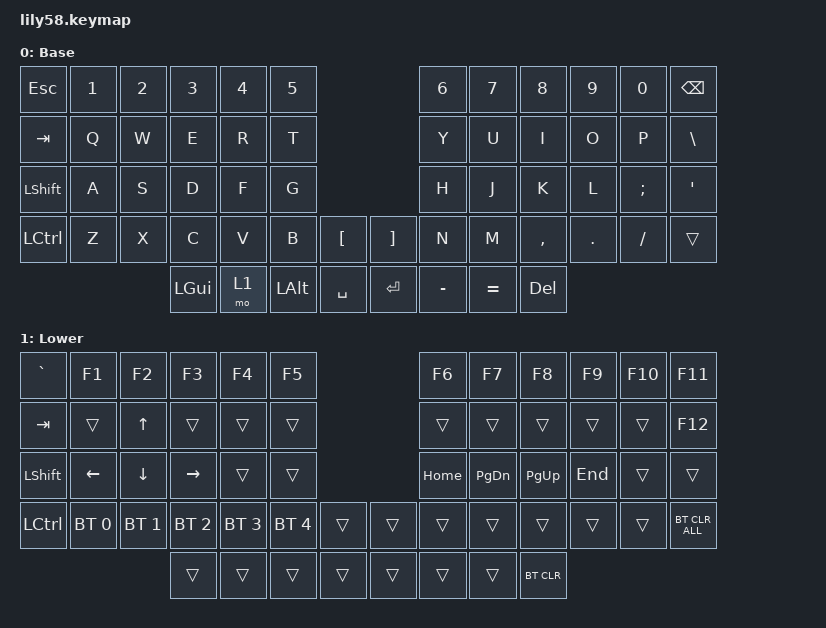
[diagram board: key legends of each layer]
/*
 * Copyright (c) 2020 The ZMK Contributors
 *
 * SPDX-License-Identifier: MIT
 */

#include <behaviors.dtsi>
#include <dt-bindings/zmk/bt.h>
#include <dt-bindings/zmk/keys.h>

/ {
    keymap {
        compatible = "zmk,keymap";

        default_layer {
            // ------------------------------------------------------------------------------------------------------------
            // |  ESC  |  1  |  2  |  3   |  4   |  5   |                   |  6   |  7    |  8    |  9   |   0   |   `   |
            // |  TAB  |  Q  |  W  |  E   |  R   |  T   |                   |  Y   |  U    |  I    |  O   |   P   |   -   |
            // |  CTRL |  A  |  S  |  D   |  F   |  G   |                   |  H   |  J    |  K    |  L   |   ;   |   '   |
            // | SHIFT |  Z  |  X  |  C   |  V   |  B   |   "["  |  |  "]"  |  N   |  M    |  ,    |  .   |   /   | SHIFT |
            //                     | ALT  | GUI  | LOWER|  SPACE |  | ENTER | RAISE| BSPC  | GUI   |

            display-name = "Base";
            bindings = <
&kp ESC           &kp N1  &kp N2  &kp N3        &kp N4  &kp N5                               &kp N6     &kp N7     &kp N8      &kp N9   &kp N0    &kp BACKSPACE
&kp TAB           &kp Q   &kp W   &kp E         &kp R   &kp T                                &kp Y      &kp U      &kp I       &kp O    &kp P     &kp BACKSLASH
&kp LEFT_SHIFT    &kp A   &kp S   &kp D         &kp F   &kp G                                &kp H      &kp J      &kp K       &kp L    &kp SEMI  &kp SQT
&kp LEFT_CONTROL  &kp Z   &kp X   &kp C         &kp V   &kp B         &kp LBKT     &kp RBKT  &kp N      &kp M      &kp COMMA   &kp DOT  &kp FSLH  &trans
                                  &kp LEFT_GUI  &mo 1   &kp LEFT_ALT  &kp SPACE    &kp RET   &kp MINUS  &kp EQUAL  &kp DELETE
            >;
        };

        lower_layer {
            // ------------------------------------------------------------------------------------------------------------
            // | BTCLR | BT1 | BT2 |  BT3 |  BT4 |  BT5 |                   |      |       |       |      |       |       |
            // |  F1   |  F2 |  F3 |  F4  |  F5  |  F6  |                   |  F7  |  F8   |  F9   |  F10 |  F11  |  F12  |
            // |   `   |  !  |  @  |  #   |  $   |  %   |                   |  ^   |  &    |  *    |  (   |   )   |   ~   |
            // |       |     |     |      |      |      |        |  |       |      |  _    |  +    |  {   |   }   |  "|"  |
            //                     |      |      |      |        |  |       |      |       |       |

            display-name = "Lower";
            bindings = <
&kp GRAVE         &kp F1          &kp F2          &kp F3           &kp F4        &kp F5                          &kp F6    &kp F7         &kp F8       &kp F9   &kp F10  &kp F11
&kp TAB           &trans          &kp UP_ARROW    &trans           &trans        &trans                          &trans    &trans         &trans       &trans   &trans   &kp F12
&kp LEFT_SHIFT    &kp LEFT_ARROW  &kp DOWN_ARROW  &kp RIGHT_ARROW  &trans        &trans                          &kp HOME  &kp PAGE_DOWN  &kp PAGE_UP  &kp END  &trans   &trans
&kp LEFT_CONTROL  &bt BT_SEL 0    &bt BT_SEL 1    &bt BT_SEL 2     &bt BT_SEL 3  &bt BT_SEL 4  &trans    &trans  &trans    &trans         &trans       &trans   &trans   &bt BT_CLR_ALL
                                                  &trans           &trans        &trans        &trans    &trans  &trans    &trans         &bt BT_CLR
            >;
        };
    };
};
